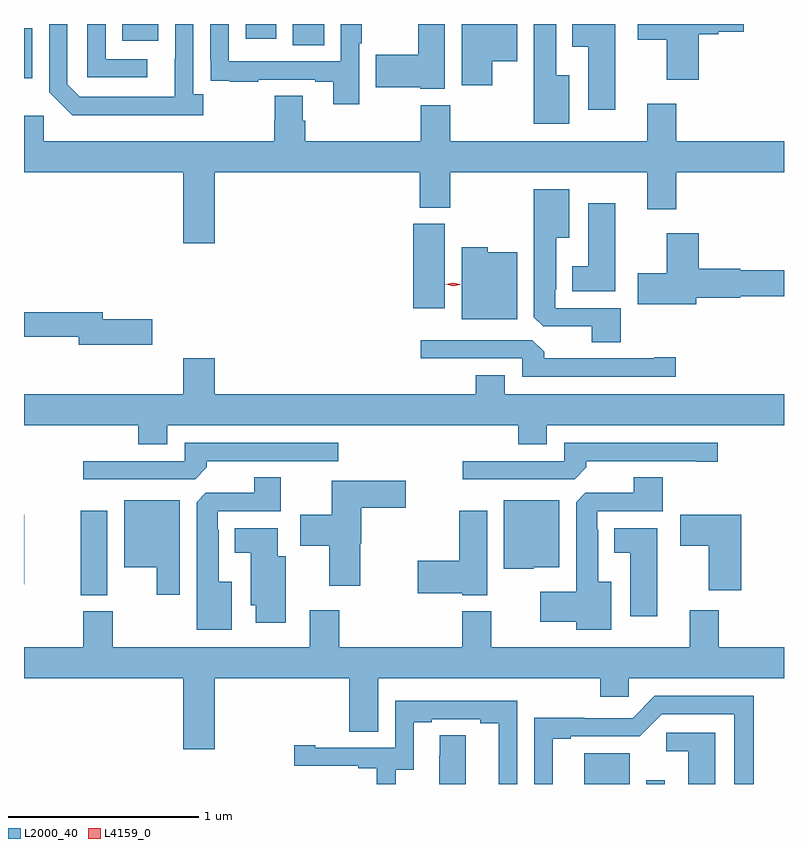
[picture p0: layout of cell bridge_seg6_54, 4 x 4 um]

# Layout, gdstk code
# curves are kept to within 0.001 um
import gdstk
lib = gdstk.Library(unit=1e-6, precision=1e-09)
def R(c, l, rs):  # rectangles x0, y0, x1, y1
    for r in rs: c.add(gdstk.rectangle(r[:2], r[2:], *l))
def P(c, l, *ps):  # polygons
    for p in ps: c.add(gdstk.Polygon(p, *l))
L2000_40 = (2000, 40)
L4159_0 = (4159, 0)

bridge_seg6_54 = lib.new_cell('bridge_seg6_54')
R(bridge_seg6_54, L2000_40, [(1090.193,974.752,1090.432,974.914), (1090.521,974.752,1090.617,974.773), (1087.543,975.745,1087.684,976.189), (1087.245,975.803,1087.246,976.168), (1089.293,977.256,1089.46,977.7), (1087.245,978.466,1087.288,978.73), (1088.66,978.64,1088.824,978.752), (1087.763,978.665,1087.951,978.752), (1088.411,978.675,1088.572,978.752)])
P(bridge_seg6_54, L2000_40, [(1089.709,978.557),(1089.841,978.557),(1089.841,978.752),(1089.548,978.752),(1089.548,978.429),(1089.709,978.429)],
  [(1087.894,978.567),(1087.674,978.567),(1087.674,978.752),(1087.578,978.752),(1087.578,978.471),(1087.894,978.471)],
  [(1089.009,978.652),(1089.022,978.652),(1089.022,978.752),(1088.913,978.752),(1088.913,978.555),(1088.322,978.555),(1088.322,978.752),(1088.226,978.752),(1088.226,978.562),(1088.227,978.562),(1088.227,978.453),(1088.329,978.453),(1088.329,978.447),(1088.477,978.447),(1088.477,978.459),(1088.777,978.459),(1088.777,978.447),(1088.873,978.447),(1088.873,978.33),(1089.009,978.33)],
  [(1088.188,978.382),(1088.136,978.382),(1088.136,978.752),(1088.04,978.752),(1088.039,978.369),(1087.539,978.369),(1087.473,978.435),(1087.473,978.752),(1087.377,978.752),(1087.377,978.393),(1087.498,978.272),(1088.188,978.272)],
  [(1090.357,978.752),(1090.13,978.752),(1090.13,978.632),(1090.214,978.632),(1090.214,978.3),(1090.357,978.3)],
  [(1090.796,978.698),(1090.898,978.698),(1090.898,978.71),(1091.033,978.71),(1091.033,978.752),(1090.476,978.752),(1090.476,978.67),(1090.628,978.67),(1090.628,978.459),(1090.796,978.459)],
  [(1090.114,978.481),(1090.045,978.481),(1090.045,978.752),(1089.929,978.752),(1089.929,978.227),(1090.114,978.227)],
  [(1089.46,978.752),(1089.319,978.752),(1089.319,978.59),(1089.096,978.59),(1089.096,978.419),(1089.33,978.419),(1089.33,978.41),(1089.46,978.41)],
  [(1088.248,977.972),(1089.329,977.972),(1089.329,977.785),(1089.489,977.785),(1089.489,977.972),(1090.526,977.972),(1090.526,977.778),(1090.679,977.778),(1090.679,977.972),(1091.245,977.972),(1091.245,978.136),(1090.679,978.136),(1090.679,978.331),(1090.526,978.331),(1090.526,978.136),(1089.489,978.136),(1089.489,978.325),(1089.334,978.325),(1089.334,978.136),(1088.726,978.136),(1088.726,978.242),(1088.713,978.242),(1088.713,978.374),(1088.566,978.374),(1088.566,978.249),(1088.561,978.249),(1088.561,978.136),(1087.35,978.136),(1087.35,978.268),(1087.245,978.268),(1087.245,977.972),(1088.084,977.972),(1088.084,977.598),(1088.248,977.598)],
  [(1090.385,977.256),(1090.041,977.256),(1090.041,977.353),(1090.045,977.353),(1090.045,977.627),(1090.114,977.627),(1090.114,977.881),(1089.929,977.881),(1089.929,977.209),(1089.978,977.16),(1090.232,977.16),(1090.232,977.077),(1090.385,977.077)],
  [(1090.357,977.809),(1090.214,977.809),(1090.214,977.476),(1090.13,977.476),(1090.13,977.345),(1090.357,977.345)],
  [(1090.783,977.312),(1091.016,977.312),(1091.016,977.32),(1091.245,977.32),(1091.245,977.456),(1091.016,977.456),(1091.016,977.464),(1090.796,977.464),(1090.796,977.65),(1090.628,977.65),(1090.628,977.439),(1090.476,977.439),(1090.476,977.276),(1090.783,977.276)],
  [(1089.841,977.551),(1089.687,977.551),(1089.687,977.578),(1089.548,977.578),(1089.548,977.198),(1089.841,977.198)],
  [(1087.921,977.198),(1087.66,977.198),(1087.66,977.234),(1087.245,977.234),(1087.245,977.106),(1087.532,977.106),(1087.532,977.063),(1087.921,977.063)],
  [(1090.675,976.997),(1090.562,976.997),(1090.562,976.992),(1089.983,976.992),(1089.983,977.026),(1089.921,977.088),(1089.333,977.088),(1089.333,976.992),(1089.867,976.992),(1089.867,976.896),(1090.675,976.896)],
  [(1087.999,976.64),(1089.845,976.64),(1089.845,976.541),(1089.997,976.541),(1089.997,976.64),(1091.245,976.64),(1091.245,976.804),(1089.775,976.804),(1089.775,976.903),(1089.623,976.903),(1089.623,976.804),(1088.248,976.804),(1088.248,976.993),(1088.084,976.993),(1088.084,976.804),(1087.245,976.804),(1087.245,976.64),(1087.847,976.64),(1087.847,976.541),(1087.999,976.541)],
  [(1090.205,976.418),(1090.205,976.452),(1090.784,976.452),(1090.784,976.447),(1090.897,976.447),(1090.897,976.548),(1090.089,976.548),(1090.089,976.452),(1089.555,976.452),(1089.555,976.356),(1090.143,976.356)],
  [(1088.207,976.418),(1088.207,976.452),(1088.899,976.452),(1088.899,976.548),(1088.091,976.548),(1088.091,976.452),(1087.557,976.452),(1087.557,976.356),(1088.145,976.356)],
  [(1090.336,975.817),(1090.267,975.817),(1090.267,976.091),(1090.263,976.091),(1090.263,976.188),(1090.607,976.188),(1090.607,976.367),(1090.454,976.367),(1090.454,976.284),(1090.2,976.284),(1090.151,976.235),(1090.151,975.763),(1089.963,975.763),(1089.963,975.605),(1090.151,975.605),(1090.151,975.563),(1090.336,975.563)],
  [(1088.338,975.817),(1088.269,975.817),(1088.269,976.091),(1088.265,976.091),(1088.265,976.188),(1088.596,976.188),(1088.596,976.367),(1088.456,976.367),(1088.456,976.284),(1088.202,976.284),(1088.153,976.235),(1088.153,975.563),(1088.338,975.563)],
  [(1089.015,976.017),(1089.02,976.017),(1089.02,976.205),(1089.253,976.205),(1089.253,976.347),(1088.864,976.347),(1088.864,976.168),(1088.7,976.168),(1088.7,976.006),(1088.852,976.006),(1088.852,975.795),(1089.015,975.795)],
  [(1089.927,975.893),(1090.063,975.893),(1090.063,976.246),(1089.77,976.246),(1089.77,975.884),(1089.927,975.884)],
  [(1088.065,976.246),(1087.772,976.246),(1087.772,975.893),(1087.943,975.893),(1087.943,975.747),(1088.065,975.747)],
  [(1089.682,976.189),(1089.536,976.189),(1089.536,975.926),(1089.318,975.926),(1089.318,975.755),(1089.552,975.755),(1089.552,975.746),(1089.682,975.746)],
  [(1091.02,976.168),(1090.698,976.168),(1090.698,976.006),(1090.85,976.006),(1090.85,975.773),(1091.02,975.773)],
  [(1088.623,975.952),(1088.581,975.952),(1088.581,976.099),(1088.354,976.099),(1088.354,975.968),(1088.438,975.968),(1088.438,975.693),(1088.465,975.693),(1088.465,975.6),(1088.623,975.6)],
  [(1090.579,976.099),(1090.352,976.099),(1090.352,975.968),(1090.436,975.968),(1090.436,975.636),(1090.579,975.636)],
  [(1088.248,975.308),(1088.957,975.308),(1088.957,975.028),(1089.109,975.028),(1089.109,975.308),(1090.277,975.308),(1090.277,975.21),(1090.428,975.21),(1090.428,975.308),(1091.245,975.308),(1091.245,975.472),(1090.901,975.472),(1090.901,975.667),(1090.748,975.667),(1090.748,975.472),(1089.703,975.472),(1089.703,975.661),(1089.551,975.661),(1089.551,975.472),(1088.903,975.472),(1088.903,975.667),(1088.75,975.667),(1088.75,975.472),(1087.713,975.472),(1087.713,975.66),(1087.558,975.66),(1087.558,975.472),(1087.245,975.472),(1087.245,975.308),(1088.084,975.308),(1088.084,974.934),(1088.248,974.934)],
  [(1090.027,974.991),(1090.123,974.991),(1090.123,975.003),(1090.485,975.003),(1090.602,975.12),(1090.982,975.12),(1090.982,974.752),(1091.086,974.752),(1091.086,975.216),(1090.566,975.216),(1090.449,975.099),(1090.193,975.099),(1090.193,975.101),(1089.93,975.101),(1089.93,974.752),(1090.027,974.752)],
  [(1089.201,974.827),(1089.295,974.827),(1089.295,975.078),(1089.391,975.078),(1089.391,975.093),(1089.647,975.093),(1089.647,975.073),(1089.743,975.073),(1089.743,974.752),(1089.84,974.752),(1089.84,975.189),(1089.198,975.189),(1089.198,974.943),(1088.779,974.943),(1088.779,974.956),(1088.667,974.956),(1088.667,974.847),(1089.005,974.847),(1089.005,974.835),(1089.101,974.835),(1089.101,974.752),(1089.201,974.752)],
  [(1090.882,975.021),(1090.626,975.021),(1090.626,974.924),(1090.742,974.924),(1090.742,974.752),(1090.882,974.752)],
  [(1089.571,975.008),(1089.432,975.008),(1089.432,974.9),(1089.431,974.9),(1089.431,974.752),(1089.571,974.752)])
P(bridge_seg6_54, L4159_0, [(1089.503,977.371),(1089.465,977.381),(1089.465,977.381),(1089.465,977.381),(1089.503,977.391),(1089.541,977.381),(1089.541,977.381),(1089.541,977.38)])

lib.write_gds('bridge_seg6_54.gds')
